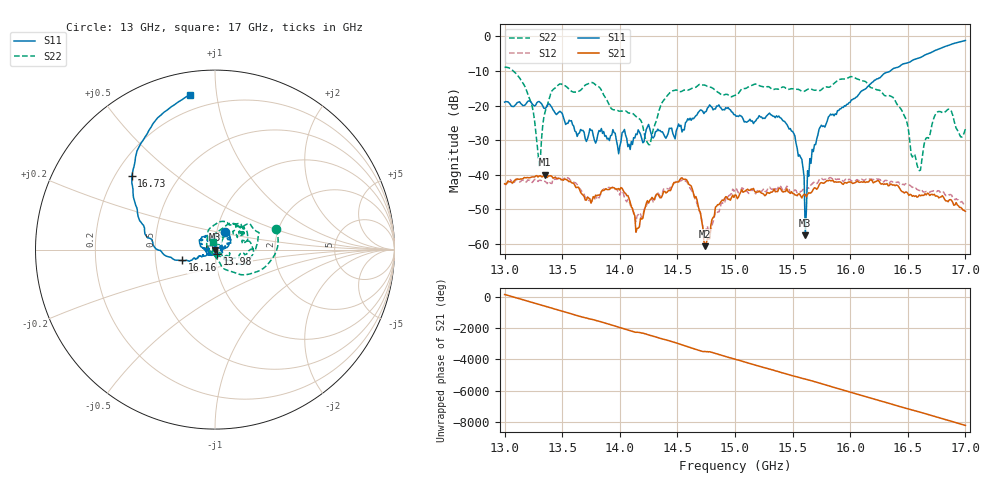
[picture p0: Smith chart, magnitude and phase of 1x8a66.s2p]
!Keysight Technologies,P9374A,MY57211807,A.19.30.04
!Date: Friday, May 08, 2026 14:16:36
!Correction: S11(C  2-Port  )
!S21(C  2-Port  )
!S12(C  2-Port  )
!S22(C  2-Port  )
!S2P File: Measurements: S11, S21, S12, S22:
# Hz S  dB  R 50
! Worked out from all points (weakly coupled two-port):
!   401 points, 13 GHz to 17 GHz, reference 50 ohm
!   highest |S21| = -39.94 dB at 13.35 GHz (marker M1); lowest = -60.7 dB at 14.74 GHz (marker M2)
!   lowest |S11| = -57.5 dB at 15.61 GHz (marker M3), VSWR 1.00, Z = 49.9 - j0.0326 ohm
!   |S11| at or under -10 dB: start of sweep to 16.35 GHz
!   |S22| runs from -38.8 to -8.9 dB; largest |S21 - S12| = 0.0022
!   S11 on the Smith chart (normalised r, x): 13 GHz: 1.09, +0.22; 13.98 GHz: 1.02, -0.05; 16.16 GHz: 0.69, -0.09; 16.73 GHz: 0.27, +0.35; 17 GHz: 0.12, +0.84
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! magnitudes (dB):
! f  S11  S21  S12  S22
! 13 GHz  -19.0  -42.6  -42.5  -9.0
! 13.19 GHz  -19.3  -40.8  -42.1  -15.6
! 13.3 GHz  -18.8  -40.4  -41.6  -37.4
! 13.35 GHz  -20.8  -39.9  -41.9  -22.0
! 13.46 GHz  -22.2  -41.1  -41.1  -14.2
! 13.67 GHz  -27.2  -45.5  -44.8  -15.2
! 13.98 GHz  -31.6  -44.1  -44.6  -21.4
! 14.16 GHz  -27.0  -55.5  -51.5  -23.7
! 14.25 GHz  -25.5  -48.2  -48.1  -31.3
! 14.34 GHz  -27.3  -46.1  -45.7  -21.5
! 14.58 GHz  -24.6  -41.5  -42.0  -15.5
! 14.74 GHz  -21.8  -60.7  -58.0  -14.1
! 15 GHz  -22.6  -45.9  -44.3  -17.0
! 15.42 GHz  -24.5  -45.0  -44.8  -14.6
! 15.52 GHz  -28.8  -45.8  -44.4  -15.3
! 15.61 GHz  -57.5  -45.7  -44.5  -15.7
! 15.67 GHz  -32.7  -44.8  -42.6  -15.4
! 16.16 GHz  -14.3  -42.1  -41.2  -14.1
! 16.34 GHz  -10.2  -43.1  -42.4  -17.1
! 16.6 GHz  -6.2  -45.8  -44.5  -38.8
! 16.73 GHz  -4.2  -45.7  -44.7  -23.3
! 17 GHz  -1.2  -50.6  -49.0  -26.8
